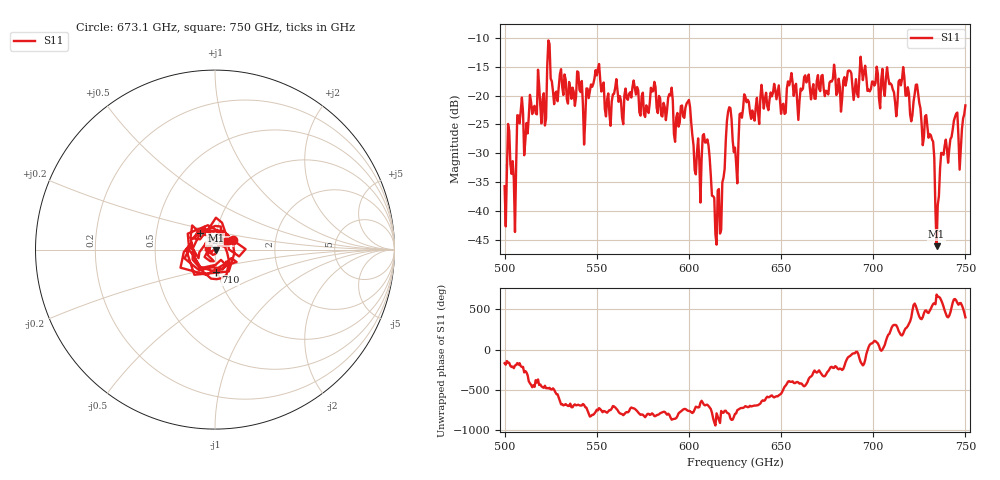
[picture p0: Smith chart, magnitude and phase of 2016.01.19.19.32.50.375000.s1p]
!Created with skrf (http://scikit-rf.org).
# GHz S RI R 50.0
!freq ReS11 ImS11
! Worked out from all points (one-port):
!   401 points, 500 GHz to 750 GHz, reference 50 ohm
!   lowest |S11| = -46.1 dB at 734.4 GHz (marker M1), VSWR 1.01, Z = 50.4 - j0.325 ohm
!   |S11| at or under -10 dB: start of sweep to end of sweep
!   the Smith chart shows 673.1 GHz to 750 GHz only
!   S11 on the Smith chart (normalised r, x): 673.1 GHz: 1.22, +0.13; 710 GHz: 0.98, -0.25; 723.8 GHz: 0.83, +0.16; 750 GHz: 1.13, +0.12
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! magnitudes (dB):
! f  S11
! 500 GHz  -35.7
! 503.1 GHz  -31.8
! 505 GHz  -34.5
! 508.1 GHz  -24.8
! 521.2 GHz  -19.6
! 524.4 GHz  -11.1
! 527.5 GHz  -19.6
! 531.2 GHz  -18.5
! 562.5 GHz  -20.1
! 580.6 GHz  -19.2
! 593.8 GHz  -23.0
! 599.4 GHz  -21.1
! 605 GHz  -27.4
! 609.4 GHz  -28.1
! 615.6 GHz  -36.5
! 621.9 GHz  -22.0
! 625 GHz  -29.0
! 630.6 GHz  -20.2
! 656.2 GHz  -17.7
! 673.1 GHz  -18.8
! 687.5 GHz  -15.7
! 710 GHz  -18.2
! 718.8 GHz  -18.6
! 723.8 GHz  -18.1
! 731.9 GHz  -27.6
! 734.4 GHz  -46.1
! 738.1 GHz  -30.3
! 750 GHz  -21.7
